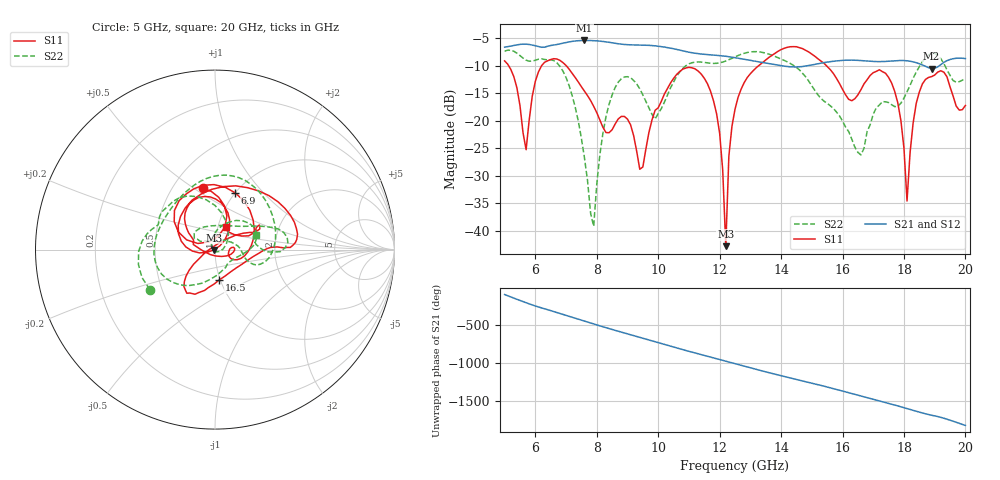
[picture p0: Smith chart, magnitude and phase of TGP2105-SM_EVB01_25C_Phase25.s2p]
! Date: Wednesday, June 05, 2013  1:50 PM
! Filename: C:\Data\Mike_Arnold\TGP2105-SM\Over_Temp\TGP2105-SM_EVB01_25C_Phase25.s2p
! Comments:
!^VDC(V):5.000
!^VDC(mA):0.070
!%Freq(GHz),S11(dB),S11(ang),S21(dB),S21(ang),S12(dB),S12(ang),S22(dB),S22(ang)
# GHz  S  DB  R  50
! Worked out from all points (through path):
!   151 points, 5 GHz to 20 GHz, reference 50 ohm
!   highest |S21| = -5.46 dB at 7.6 GHz (marker M1); lowest = -10.6 dB at 18.9 GHz (marker M2)
!   group delay of S21, straight-line fit = 307 ps
!   lowest |S11| = -42.7 dB at 12.2 GHz (marker M3), VSWR 1.01, Z = 49.3 - j0.229 ohm
!   |S11| at or under -10 dB: 5.126 GHz to 6.209 GHz (1.083 GHz wide, 19.1 % of centre); 7.001 GHz to 13.28 GHz (6.279 GHz wide, 61.9 % of centre); 15.47 GHz to end of sweep
!   |S22| runs from -39.2 to -7.2 dB; largest |S21 - S12| = 0.002
!   S11 on the Smith chart (normalised r, x): 5 GHz: 0.70, +0.54; 6.9 GHz: 1.00, +0.71; 16.5 GHz: 0.99, -0.35; 20 GHz: 1.09, +0.28
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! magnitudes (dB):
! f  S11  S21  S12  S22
! 5 GHz  -9.2  -6.7  -6.7  -7.4
! 5.7 GHz  -25.3  -6.1  -6.1  -9.0
! 6.1 GHz  -11.2  -6.6  -6.6  -8.9
! 6.9 GHz  -9.5  -6.0  -6.0  -11.0
! 7.5 GHz  -13.8  -5.5  -5.5  -23.2
! 7.6 GHz  -14.6  -5.5  -5.5  -26.8
! 7.9 GHz  -17.4  -5.5  -5.5  -39.2
! 8.6 GHz  -20.6  -6.0  -6.0  -14.0
! 9.4 GHz  -28.8  -6.3  -6.3  -14.2
! 10 GHz  -17.7  -6.5  -6.5  -18.7
! 11.6 GHz  -13.3  -8.0  -8.0  -9.5
! 12 GHz  -22.3  -8.2  -8.2  -9.5
! 12.2 GHz  -42.7  -8.3  -8.3  -9.2
! 12.3 GHz  -26.4  -8.4  -8.4  -8.9
! 12.5 GHz  -17.9  -8.6  -8.6  -8.4
! 15 GHz  -7.9  -9.9  -9.9  -13.7
! 16.5 GHz  -15.3  -9.1  -9.1  -25.7
! 17.5 GHz  -12.2  -9.2  -9.3  -16.7
! 18.1 GHz  -34.6  -9.1  -9.2  -14.8
! 18.4 GHz  -16.8  -9.5  -9.5  -11.2
! 18.9 GHz  -12.0  -10.6  -10.6  -7.8
! 20 GHz  -17.2  -8.7  -8.8  -12.3
